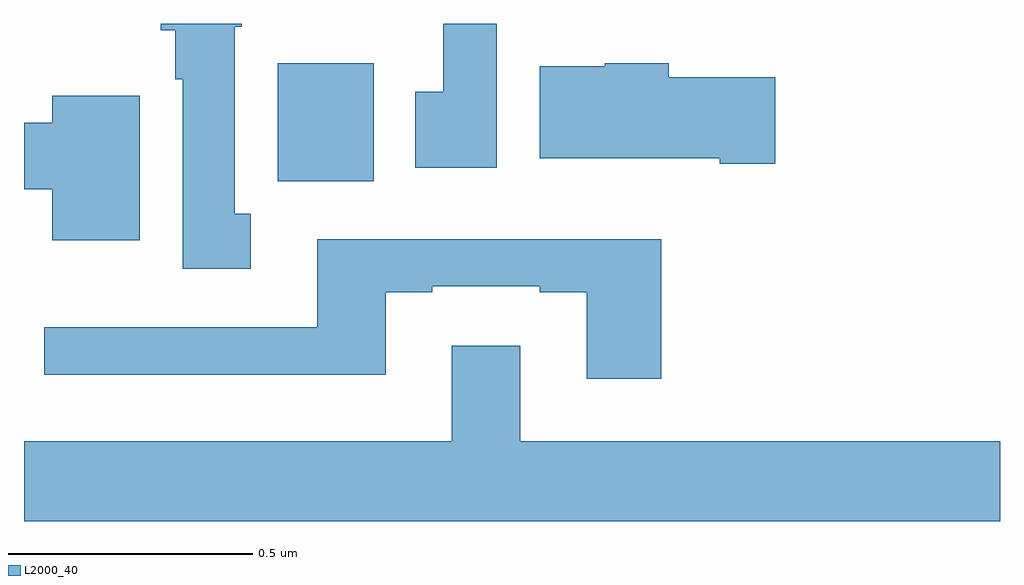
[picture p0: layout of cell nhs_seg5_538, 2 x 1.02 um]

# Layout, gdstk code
import gdstk
lib = gdstk.Library(unit=1e-6, precision=1e-09)
def R(c, l, rs):  # rectangles x0, y0, x1, y1
    for r in rs: c.add(gdstk.rectangle(r[:2], r[2:], *l))
def P(c, l, *ps):  # polygons
    for p in ps: c.add(gdstk.Polygon(p, *l))
L2000_40 = (2000, 40)

nhs_seg5_538 = lib.new_cell('nhs_seg5_538')
R(nhs_seg5_538, L2000_40, [(118.52,837.476,118.717,837.718)])
P(nhs_seg5_538, L2000_40, [(118.969,837.799),(118.859,837.799),(118.859,837.66),(118.802,837.66),(118.802,837.504),(118.969,837.504)],
  [(118.465,837.41),(118.432,837.41),(118.432,837.793),(118.446,837.793),(118.446,837.799),(118.28,837.799),(118.28,837.786),(118.31,837.786),(118.31,837.686),(118.325,837.686),(118.325,837.297),(118.465,837.297)],
  [(119.539,837.69),(119.321,837.69),(119.321,837.718),(119.19,837.718),(119.19,837.712),(119.057,837.712),(119.057,837.524),(119.426,837.524),(119.426,837.512),(119.539,837.512)],
  [(118.237,837.652),(118.058,837.652),(118.058,837.596),(118,837.596),(118,837.46),(118.058,837.46),(118.058,837.356),(118.237,837.356)],
  [(119.306,837.358),(118.601,837.358),(118.601,837.177),(118.041,837.177),(118.041,837.08),(118.741,837.08),(118.741,837.249),(118.837,837.249),(118.837,837.261),(119.057,837.261),(119.057,837.249),(119.153,837.249),(119.153,837.072),(119.306,837.072)],
  [(120,836.944),(119.017,836.944),(119.017,837.139),(118.877,837.139),(118.877,836.944),(118,836.944),(118,836.78),(120,836.78)])

lib.write_gds('nhs_seg5_538.gds')
